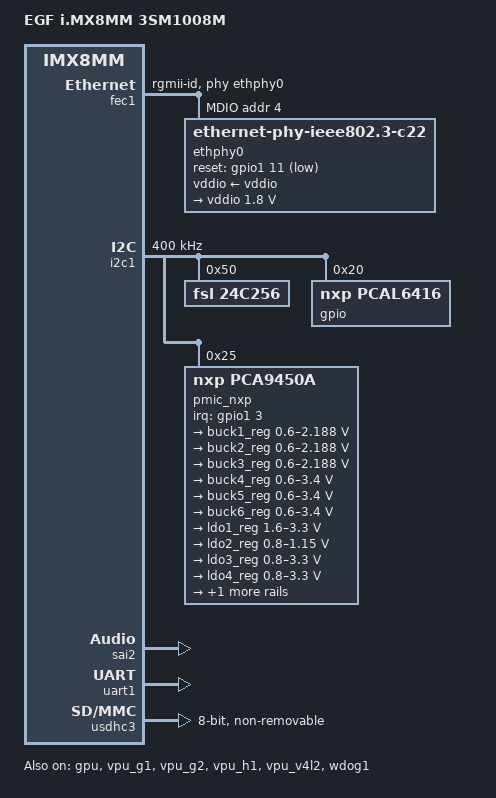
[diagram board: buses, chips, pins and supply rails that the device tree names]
// SPDX-License-Identifier: (GPL-2.0+ OR MIT)
/*
 * Copyright 2020 NXP
 */

/dts-v1/;

#include <dt-bindings/phy/phy-imx8-pcie.h>
#include <dt-bindings/usb/pd.h>
#include "imx8mm.dtsi"

/ {

	model = "EGF i.MX8MM 3SM1008M";
	compatible = "fsl,imx8mm";

	chosen {
		stdout-path = &uart1;
	};
};

&resmem {

	/delete-node/ linux,cma;
	
	
	linux,cma {
		compatible = "shared-dma-pool";
		reusable;
		size = <0 0x0c000000>;
		alloc-ranges = <0 0x40000000 0 0x50000000>;
		linux,cma-default;
	}; 
	
	/delete-node/ gpu_reserved@100000000;
	
	gpu_reserved: gpu_reserved@50000000 {
	no-map;
	reg = <0x0 0x50000000 0 0x10000000>;
	};
	
};

&gpu {
	reg = <0x0 0x38000000 0x0 0x8000>, <0x0 0x38008000 0x0 0x8000>,
	<0x0 0x40000000 0x0 0x48000000>;
	reg-names = "iobase_3d", "iobase_2d",
		"phys_baseaddr";
	memory-region=<&gpu_reserved>;
	status = "okay";
};



&A53_0 {
	cpu-supply = <&buck2_reg>;
};

&A53_1 {
	cpu-supply = <&buck2_reg>;
};

&A53_2 {
	cpu-supply = <&buck2_reg>;
};

&A53_3 {
	cpu-supply = <&buck2_reg>;
};


&fec1 {
	pinctrl-names = "default";
	pinctrl-0 = <&pinctrl_fec1>;
	phy-mode = "rgmii-id";
	phy-handle = <&ethphy0>;
	fsl,magic-packet;
	status = "okay";

	mdio {
		#address-cells = <1>;
		#size-cells = <0>;

		ethphy0: ethernet-phy@4 {
			compatible = "ethernet-phy-ieee802.3-c22";
			reg = <4>;
			reset-gpios = <&gpio1 11 GPIO_ACTIVE_LOW>;
			reset-assert-us = <10000>;
			reset-deassert-us = <80000>;
			realtek,aldps-enable;
			realtek,clkout-disable;
			qca,disable-smarteee;
			vddio-supply = <&vddio>;

			vddio: vddio-regulator {
				regulator-min-microvolt = <1800000>;
				regulator-max-microvolt = <1800000>;
			};
		};
	};
};

&i2c1 {
	clock-frequency = <400000>;
	pinctrl-names = "default";
	pinctrl-0 = <&pinctrl_i2c1>;
	status = "okay";

	// EEPROM factory data (som)
	24c256@50 {
		compatible = "fsl,24c256";
		reg = <0x50>;
		pagesize = <32>;
	};
	
	gpio@20 {
		compatible = "nxp,pcal6416";
		reg = <0x20>;
		gpio-controller;
		#gpio-cells = <2>;
	};



	pmic_nxp: pca9450@25 {
		compatible = "nxp,pca9450a";
		reg = <0x25>;
		pinctrl-0 = <&pinctrl_pmic>;
		pinctrl-names = "default";
		interrupt-parent = <&gpio1>;
		interrupts = <3 IRQ_TYPE_LEVEL_LOW>;

		regulators {
			buck1_reg: BUCK1 {
				regulator-name = "BUCK1";
				regulator-min-microvolt = <600000>;
				regulator-max-microvolt = <2187500>;
				regulator-boot-on;
				regulator-always-on;
				regulator-ramp-delay = <3125>;
				nxp,dvs-run-voltage = <850000>;
				nxp,dvs-standby-voltage = <800000>;
			};

			buck2_reg: BUCK2 {
				regulator-name = "BUCK2";
				regulator-min-microvolt = <600000>;
				regulator-max-microvolt = <2187500>;
				regulator-boot-on;
				regulator-always-on;
				regulator-ramp-delay = <3125>;
			};

			buck3_reg: BUCK3 {
				regulator-name = "BUCK3";
				regulator-min-microvolt = <600000>;
				regulator-max-microvolt = <2187500>;
				regulator-boot-on;
				regulator-always-on;
			};

			buck4_reg: BUCK4 {
				regulator-name = "BUCK4";
				regulator-min-microvolt = <600000>;
				regulator-max-microvolt = <3400000>;
				regulator-boot-on;
				regulator-always-on;
			};

			buck5_reg: BUCK5 {
				regulator-name = "BUCK5";
				regulator-min-microvolt = <600000>;
				regulator-max-microvolt = <3400000>;
				regulator-boot-on;
				regulator-always-on;
			};

			buck6_reg: BUCK6 {
				regulator-name = "BUCK6";
				regulator-min-microvolt = <600000>;
				regulator-max-microvolt = <3400000>;
				regulator-boot-on;
				regulator-always-on;
			};

			ldo1_reg: LDO1 {
				regulator-name = "LDO1";
				regulator-min-microvolt = <1600000>;
				regulator-max-microvolt = <3300000>;
				regulator-boot-on;
				regulator-always-on;
			};

			ldo2_reg: LDO2 {
				regulator-name = "LDO2";
				regulator-min-microvolt = <800000>;
				regulator-max-microvolt = <1150000>;
				regulator-boot-on;
				regulator-always-on;
			};

			ldo3_reg: LDO3 {
				regulator-name = "LDO3";
				regulator-min-microvolt = <800000>;
				regulator-max-microvolt = <3300000>;
				regulator-boot-on;
				regulator-always-on;
			};

			ldo4_reg: LDO4 {
				regulator-name = "LDO4";
				regulator-min-microvolt = <800000>;
				regulator-max-microvolt = <3300000>;
				regulator-boot-on;
				regulator-always-on;
			};

			ldo5_reg: LDO5 {
				regulator-name = "LDO5";
				regulator-min-microvolt = <1800000>;
				regulator-max-microvolt = <3300000>;
			};
		};
	};
};


&sai2 {
	#sound-dai-cells = <0>;
	pinctrl-names = "default";
	pinctrl-0 = <&pinctrl_sai2>;
	assigned-clocks = <&clk IMX8MM_CLK_SAI2>;
	assigned-clock-parents = <&clk IMX8MM_AUDIO_PLL1_OUT>;

	clocks = <&clk IMX8MM_CLK_SAI2_IPG>, <&clk IMX8MM_CLK_DUMMY>,
		<&clk IMX8MM_CLK_SAI2_ROOT>, <&clk IMX8MM_CLK_DUMMY>,
		<&clk IMX8MM_CLK_DUMMY>, <&clk IMX8MM_AUDIO_PLL1_OUT>,
		<&clk IMX8MM_AUDIO_PLL2_OUT>;
	clock-names = "bus", "mclk0", "mclk1", "mclk2", "mclk3", "pll8k", "pll11k";

	assigned-clock-rates = <24576000>;
	fsl,sai-mclk-direction-output;
	status = "okay";
};


&uart1 { /* console */
	pinctrl-names = "default";
	pinctrl-0 = <&pinctrl_uart1>;
	status = "okay";
};

&usdhc3 {
	assigned-clocks = <&clk IMX8MM_CLK_USDHC3_ROOT>;
	assigned-clock-rates = <400000000>;
	pinctrl-names = "default", "state_100mhz", "state_200mhz";
	pinctrl-0 = <&pinctrl_usdhc3>;
	pinctrl-1 = <&pinctrl_usdhc3_100mhz>;
	pinctrl-2 = <&pinctrl_usdhc3_200mhz>;
	bus-width = <8>;
	non-removable;
	status = "okay";
};


&vpu_g1 {
	status = "okay";
};

&vpu_g2 {
	status = "okay";
};

&vpu_h1 {
	status = "okay";
};

&vpu_v4l2 {
	status = "okay";
};

&wdog1 {
	pinctrl-names = "default";
	pinctrl-0 = <&pinctrl_wdog>;
	fsl,ext-reset-output;
	status = "okay";
};



&iomuxc {

	pinctrl_fec1: fec1grp {
		fsl,pins = <
			MX8MM_IOMUXC_ENET_MDC_ENET1_MDC			0x3
			MX8MM_IOMUXC_ENET_MDIO_ENET1_MDIO		0x3
			MX8MM_IOMUXC_ENET_TD3_ENET1_RGMII_TD3		0x1f
			MX8MM_IOMUXC_ENET_TD2_ENET1_RGMII_TD2		0x1f
			MX8MM_IOMUXC_ENET_TD1_ENET1_RGMII_TD1		0x1f
			MX8MM_IOMUXC_ENET_TD0_ENET1_RGMII_TD0		0x1f
			MX8MM_IOMUXC_ENET_RD3_ENET1_RGMII_RD3		0x91
			MX8MM_IOMUXC_ENET_RD2_ENET1_RGMII_RD2		0x91
			MX8MM_IOMUXC_ENET_RD1_ENET1_RGMII_RD1		0x91
			MX8MM_IOMUXC_ENET_RD0_ENET1_RGMII_RD0		0x91
			MX8MM_IOMUXC_ENET_TXC_ENET1_RGMII_TXC		0x1f
			MX8MM_IOMUXC_ENET_RXC_ENET1_RGMII_RXC		0x91
			MX8MM_IOMUXC_ENET_RX_CTL_ENET1_RGMII_RX_CTL	0x91
			MX8MM_IOMUXC_ENET_TX_CTL_ENET1_RGMII_TX_CTL	0x1f
			MX8MM_IOMUXC_GPIO1_IO11_GPIO1_IO11		0x19
		>;
	};


	pinctrl_i2c1: i2c1grp {
		fsl,pins = <
			MX8MM_IOMUXC_I2C1_SCL_I2C1_SCL			0x400001c3
			MX8MM_IOMUXC_I2C1_SDA_I2C1_SDA			0x400001c3
		>;
	};


	pinctrl_pmic: pmicirqgrp {
		fsl,pins = <
			MX8MM_IOMUXC_GPIO1_IO03_GPIO1_IO3		0x141
		>;
	};

	pinctrl_sai2: sai2grp {
		fsl,pins = <
			MX8MM_IOMUXC_SAI2_TXFS_SAI2_TX_SYNC     0xd6
			MX8MM_IOMUXC_SAI2_TXC_SAI2_TX_BCLK      0xd6
			MX8MM_IOMUXC_SAI2_MCLK_SAI2_MCLK        0xd6
			MX8MM_IOMUXC_SAI2_TXD0_SAI2_TX_DATA0    0xd6
		>;
	};


	pinctrl_uart1: uart1grp {
		fsl,pins = <
			MX8MM_IOMUXC_SAI2_RXC_UART1_DCE_RX      0x140
			MX8MM_IOMUXC_SAI2_RXFS_UART1_DCE_TX     0x140
		>;
	};


	pinctrl_wdog: wdoggrp {
		fsl,pins = <
			MX8MM_IOMUXC_GPIO1_IO02_WDOG1_WDOG_B	0x166
		>;
	};

	pinctrl_usdhc3: usdhc3grp {
		fsl,pins = <
			MX8MM_IOMUXC_NAND_WE_B_USDHC3_CLK               0x190
			MX8MM_IOMUXC_NAND_WP_B_USDHC3_CMD               0x1d0
			MX8MM_IOMUXC_NAND_DATA04_USDHC3_DATA0           0x1d0
			MX8MM_IOMUXC_NAND_DATA05_USDHC3_DATA1           0x1d0
			MX8MM_IOMUXC_NAND_DATA06_USDHC3_DATA2           0x1d0
			MX8MM_IOMUXC_NAND_DATA07_USDHC3_DATA3           0x1d0
			MX8MM_IOMUXC_NAND_RE_B_USDHC3_DATA4             0x1d0
			MX8MM_IOMUXC_NAND_CE2_B_USDHC3_DATA5            0x1d0
			MX8MM_IOMUXC_NAND_CE3_B_USDHC3_DATA6            0x1d0
			MX8MM_IOMUXC_NAND_CLE_USDHC3_DATA7              0x1d0
			MX8MM_IOMUXC_NAND_CE1_B_USDHC3_STROBE           0x190
		>;
	};

	pinctrl_usdhc3_100mhz: usdhc3-100mhzgrp {
		fsl,pins = <
			MX8MM_IOMUXC_NAND_WE_B_USDHC3_CLK               0x194
			MX8MM_IOMUXC_NAND_WP_B_USDHC3_CMD               0x1d4
			MX8MM_IOMUXC_NAND_DATA04_USDHC3_DATA0           0x1d4
			MX8MM_IOMUXC_NAND_DATA05_USDHC3_DATA1           0x1d4
			MX8MM_IOMUXC_NAND_DATA06_USDHC3_DATA2           0x1d4
			MX8MM_IOMUXC_NAND_DATA07_USDHC3_DATA3           0x1d4
			MX8MM_IOMUXC_NAND_RE_B_USDHC3_DATA4             0x1d4
			MX8MM_IOMUXC_NAND_CE2_B_USDHC3_DATA5            0x1d4
			MX8MM_IOMUXC_NAND_CE3_B_USDHC3_DATA6            0x1d4
			MX8MM_IOMUXC_NAND_CLE_USDHC3_DATA7              0x1d4
			MX8MM_IOMUXC_NAND_CE1_B_USDHC3_STROBE           0x194
		>;
	};

	pinctrl_usdhc3_200mhz: usdhc3-200mhzgrp {
		fsl,pins = <
			MX8MM_IOMUXC_NAND_WE_B_USDHC3_CLK               0x196
			MX8MM_IOMUXC_NAND_WP_B_USDHC3_CMD               0x1d6
			MX8MM_IOMUXC_NAND_DATA04_USDHC3_DATA0           0x1d6
			MX8MM_IOMUXC_NAND_DATA05_USDHC3_DATA1           0x1d6
			MX8MM_IOMUXC_NAND_DATA06_USDHC3_DATA2           0x1d6
			MX8MM_IOMUXC_NAND_DATA07_USDHC3_DATA3           0x1d6
			MX8MM_IOMUXC_NAND_RE_B_USDHC3_DATA4             0x1d6
			MX8MM_IOMUXC_NAND_CE2_B_USDHC3_DATA5            0x1d6
			MX8MM_IOMUXC_NAND_CE3_B_USDHC3_DATA6            0x1d6
			MX8MM_IOMUXC_NAND_CLE_USDHC3_DATA7              0x1d6
			MX8MM_IOMUXC_NAND_CE1_B_USDHC3_STROBE           0x196
		>;
	};
};
